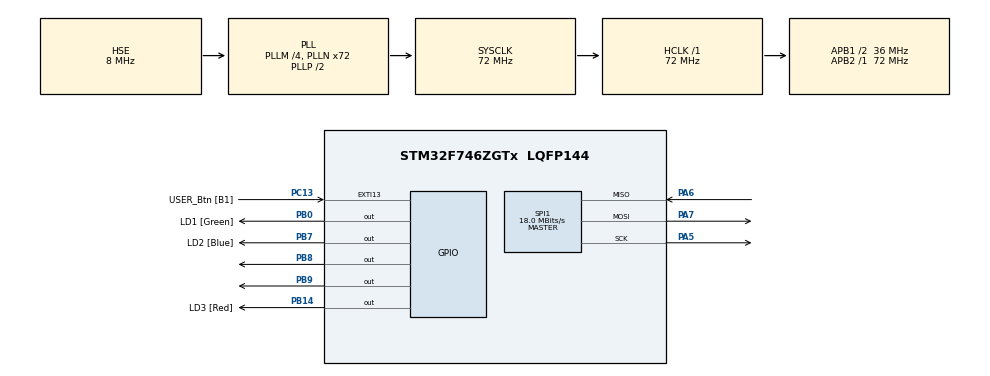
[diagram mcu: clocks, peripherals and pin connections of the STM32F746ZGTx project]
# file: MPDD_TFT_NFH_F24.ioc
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Dma.Request0=SPI1_TX
Dma.SPI1_TX.0.Direction=DMA_MEMORY_TO_PERIPH
Dma.SPI1_TX.0.FIFOMode=DMA_FIFOMODE_ENABLE
Dma.SPI1_TX.0.FIFOThreshold=DMA_FIFO_THRESHOLD_HALFFULL
Dma.SPI1_TX.0.Instance=DMA2_Stream3
Dma.SPI1_TX.0.MemBurst=DMA_MBURST_SINGLE
Dma.SPI1_TX.0.MemDataAlignment=DMA_MDATAALIGN_HALFWORD
Dma.SPI1_TX.0.MemInc=DMA_MINC_ENABLE
Dma.SPI1_TX.0.Mode=DMA_NORMAL
Dma.SPI1_TX.0.PeriphBurst=DMA_PBURST_SINGLE
Dma.SPI1_TX.0.PeriphDataAlignment=DMA_PDATAALIGN_HALFWORD
Dma.SPI1_TX.0.PeriphInc=DMA_PINC_DISABLE
Dma.SPI1_TX.0.Priority=DMA_PRIORITY_LOW
Mcu.Family=STM32F7
Mcu.Name=STM32F746ZGTx
Mcu.Package=LQFP144
NVIC.DMA2_Stream3_IRQn=true\:0\:0\:false\:false\:true\:false\:true\:true
NVIC.PriorityGroup=NVIC_PRIORITYGROUP_4
PA13.GPIO_Label=TMS
PA13.Mode=Serial_Wire
PA13.Signal=SYS_JTMS-SWDIO
PA14.GPIO_Label=TCK
PA14.Mode=Serial_Wire
PA14.Signal=SYS_JTCK-SWCLK
PA5.Mode=Full_Duplex_Master
PA5.Signal=SPI1_SCK
PA6.Mode=Full_Duplex_Master
PA6.Signal=SPI1_MISO
PA7.Mode=Full_Duplex_Master
PA7.Signal=SPI1_MOSI
PB0.GPIO_Label=LD1 [Green]
PB0.Signal=GPIO_Output
PB14.GPIO_Label=LD3 [Red]
PB14.Signal=GPIO_Output
PB3.Signal=SYS_JTDO-SWO
PB7.GPIO_Label=LD2 [Blue]
PB7.Signal=GPIO_Output
PB8.Signal=GPIO_Output
PB9.Signal=GPIO_Output
PC13.GPIO_Label=USER_Btn [B1]
PC13.Signal=GPXTI13
PC14/OSC32_IN.Mode=LSE-External-Oscillator
PC14/OSC32_IN.Signal=RCC_OSC32_IN
PC15/OSC32_OUT.Mode=LSE-External-Oscillator
PC15/OSC32_OUT.Signal=RCC_OSC32_OUT
PH0/OSC_IN.GPIO_Label=MCO [STM32F103CBT6_PA8]
PH0/OSC_IN.Mode=HSE-External-Clock-Source
PH0/OSC_IN.Signal=RCC_OSC_IN
PH1/OSC_OUT.Mode=HSE-External-Clock-Source
PH1/OSC_OUT.Signal=RCC_OSC_OUT
ProjectManager.HeapSize=0x200
ProjectManager.StackSize=0x400
ProjectManager.TargetToolchain=STM32CubeIDE
RCC.48MHZClocksFreq_Value=24000000
RCC.AHBFreq_Value=72000000
RCC.APB1CLKDivider=RCC_HCLK_DIV2
RCC.APB1Freq_Value=36000000
RCC.APB1TimFreq_Value=72000000
RCC.APB2Freq_Value=72000000
RCC.APB2TimFreq_Value=72000000
RCC.CortexFreq_Value=72000000
RCC.HCLKFreq_Value=72000000
RCC.HSE_VALUE=8000000
RCC.HSI_VALUE=16000000
RCC.PLLM=4
RCC.PLLMUL=RCC_PLL_MUL9
RCC.PLLN=72
RCC.PLLQ=3
RCC.PLLSourceVirtual=RCC_PLLSOURCE_HSE
RCC.PRESCALERUSB=RCC_USBCLKSOURCE_PLL_DIV1_5
RCC.SYSCLKFreq_VALUE=72000000
RCC.SYSCLKSource=RCC_SYSCLKSOURCE_PLLCLK
RCC.SYSCLKSourceVirtual=RCC_SYSCLKSOURCE_PLLCLK
RCC.USBFreq_Value=48000000
RCC.VCOOutputFreq_Value=144000000
SPI1.BaudRatePrescaler=SPI_BAUDRATEPRESCALER_4
SPI1.CalculateBaudRate=18.0 MBits/s
SPI1.DataSize=SPI_DATASIZE_8BIT
SPI1.Direction=SPI_DIRECTION_2LINES
SPI1.Mode=SPI_MODE_MASTER
SPI1.VirtualType=VM_MASTER
board=NUCLEO-F746ZG

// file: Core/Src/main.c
/* USER CODE BEGIN Header */
/**
  ******************************************************************************
  * @file           : main.c
  * @brief          : Main program body
  ******************************************************************************
  * @attention
  *
  * Copyright (c) 2024 STMicroelectronics.
  * All rights reserved.
  *
  * This software is licensed under terms that can be found in the LICENSE file
  * in the root directory of this software component.
  * If no LICENSE file comes with this software, it is provided AS-IS.
  *
  ******************************************************************************
  */
/* USER CODE END Header */
#include "main.h"

/* USER CODE BEGIN Includes */
#include "ili9163.h"
/* USER CODE END Includes */

SPI_HandleTypeDef hspi1;
DMA_HandleTypeDef hdma_spi1_tx;

/* USER CODE BEGIN PV */
volatile uint32_t MSec = 0;

uint8_t SPI_DMA_FL = 0;
uint32_t SPI_DMA_CNT=1;
/* USER CODE END PV */

void SystemClock_Config(void);
static void MX_GPIO_Init(void);
static void MX_DMA_Init(void);
static void MX_SPI1_Init(void);

int main(void)
{

  /* MCU Configuration--------------------------------------------------------*/

  /* Reset of all peripherals, Initializes the Flash interface and the Systick. */
  HAL_Init();

  /* Configure the system clock */
  SystemClock_Config();

  /* Initialize all configured peripherals */
  MX_GPIO_Init();
  MX_DMA_Init();
  MX_SPI1_Init();
  /* USER CODE BEGIN 2 */
  ILI9163_init(1);
  uint16_t test = 88;
  HAL_Delay(100);
  /* USER CODE END 2 */

  /* Infinite loop */
  /* USER CODE BEGIN WHILE */

  while (1)
  {
	  	HAL_GPIO_WritePin(GPIOB, LD1_Pin|LD3_Pin|LD2_Pin, GPIO_PIN_RESET);
	  	HAL_Delay(1000);

	  	ILI9163_newFrame();

	  	test++;

	  	ILI9163_drawStringF(5, 55, Font_7x10, BLACK, "%u", test); // The graphical functions don't cost a lot

	  	HAL_Delay(100);

	  	ILI9163_render();

	  	HAL_GPIO_WritePin(GPIOB, LD1_Pin|LD3_Pin|LD2_Pin, GPIO_PIN_SET);
	    HAL_Delay(1000);

    /* USER CODE END WHILE */

  }
}

void SystemClock_Config(void)
{
  RCC_OscInitTypeDef RCC_OscInitStruct = {0};
  RCC_ClkInitTypeDef RCC_ClkInitStruct = {0};

  /** Configure LSE Drive Capability
  */
  HAL_PWR_EnableBkUpAccess();

  /** Configure the main internal regulator output voltage
  */
  __HAL_RCC_PWR_CLK_ENABLE();
  __HAL_PWR_VOLTAGESCALING_CONFIG(PWR_REGULATOR_VOLTAGE_SCALE3);

  /** Initializes the RCC Oscillators according to the specified parameters
  * in the RCC_OscInitTypeDef structure.
  */
  RCC_OscInitStruct.OscillatorType = RCC_OSCILLATORTYPE_HSE;
  RCC_OscInitStruct.HSEState = RCC_HSE_BYPASS;
  RCC_OscInitStruct.PLL.PLLState = RCC_PLL_ON;
  RCC_OscInitStruct.PLL.PLLSource = RCC_PLLSOURCE_HSE;
  RCC_OscInitStruct.PLL.PLLM = 4;
  RCC_OscInitStruct.PLL.PLLN = 72;
  RCC_OscInitStruct.PLL.PLLP = RCC_PLLP_DIV2;
  RCC_OscInitStruct.PLL.PLLQ = 3;
  if (HAL_RCC_OscConfig(&RCC_OscInitStruct) != HAL_OK)
  {
    Error_Handler();
  }

  /** Initializes the CPU, AHB and APB buses clocks
  */
  RCC_ClkInitStruct.ClockType = RCC_CLOCKTYPE_HCLK|RCC_CLOCKTYPE_SYSCLK
                              |RCC_CLOCKTYPE_PCLK1|RCC_CLOCKTYPE_PCLK2;
  RCC_ClkInitStruct.SYSCLKSource = RCC_SYSCLKSOURCE_PLLCLK;
  RCC_ClkInitStruct.AHBCLKDivider = RCC_SYSCLK_DIV1;
  RCC_ClkInitStruct.APB1CLKDivider = RCC_HCLK_DIV2;
  RCC_ClkInitStruct.APB2CLKDivider = RCC_HCLK_DIV1;

  if (HAL_RCC_ClockConfig(&RCC_ClkInitStruct, FLASH_LATENCY_2) != HAL_OK)
  {
    Error_Handler();
  }
}

static void MX_SPI1_Init(void)
{

  /* SPI1 parameter configuration*/
  hspi1.Instance = SPI1;
  hspi1.Init.Mode = SPI_MODE_MASTER;
  hspi1.Init.Direction = SPI_DIRECTION_2LINES;
  hspi1.Init.DataSize = SPI_DATASIZE_8BIT;
  hspi1.Init.CLKPolarity = SPI_POLARITY_LOW;
  hspi1.Init.CLKPhase = SPI_PHASE_1EDGE;
  hspi1.Init.NSS = SPI_NSS_SOFT;
  hspi1.Init.BaudRatePrescaler = SPI_BAUDRATEPRESCALER_4;
  hspi1.Init.FirstBit = SPI_FIRSTBIT_MSB;
  hspi1.Init.TIMode = SPI_TIMODE_DISABLE;
  hspi1.Init.CRCCalculation = SPI_CRCCALCULATION_DISABLE;
  hspi1.Init.CRCPolynomial = 7;
  hspi1.Init.CRCLength = SPI_CRC_LENGTH_DATASIZE;
  hspi1.Init.NSSPMode = SPI_NSS_PULSE_ENABLE;
  if (HAL_SPI_Init(&hspi1) != HAL_OK)
  {
    Error_Handler();
  }

}

static void MX_DMA_Init(void)
{

  /* DMA controller clock enable */
  __HAL_RCC_DMA2_CLK_ENABLE();

  /* DMA interrupt init */
  /* DMA2_Stream3_IRQn interrupt configuration */
  HAL_NVIC_SetPriority(DMA2_Stream3_IRQn, 0, 0);
  HAL_NVIC_EnableIRQ(DMA2_Stream3_IRQn);

}

static void MX_GPIO_Init(void)
{
  GPIO_InitTypeDef GPIO_InitStruct = {0};

  /* GPIO Ports Clock Enable */
  __HAL_RCC_GPIOC_CLK_ENABLE();
  __HAL_RCC_GPIOH_CLK_ENABLE();
  __HAL_RCC_GPIOA_CLK_ENABLE();
  __HAL_RCC_GPIOB_CLK_ENABLE();

  /*Configure GPIO pin Output Level */
  HAL_GPIO_WritePin(GPIOB, LD1_Pin|LD3_Pin|LD2_Pin|GPIO_PIN_8
                          |GPIO_PIN_9, GPIO_PIN_RESET);

  /*Configure GPIO pin : USER_Btn_Pin */
  GPIO_InitStruct.Pin = USER_Btn_Pin;
  GPIO_InitStruct.Mode = GPIO_MODE_IT_RISING;
  GPIO_InitStruct.Pull = GPIO_NOPULL;
  HAL_GPIO_Init(USER_Btn_GPIO_Port, &GPIO_InitStruct);

  /*Configure GPIO pins : LD1_Pin LD3_Pin LD2_Pin PB8
                           PB9 */
  GPIO_InitStruct.Pin = LD1_Pin|LD3_Pin|LD2_Pin|GPIO_PIN_8
                          |GPIO_PIN_9;
  GPIO_InitStruct.Mode = GPIO_MODE_OUTPUT_PP;
  GPIO_InitStruct.Pull = GPIO_NOPULL;
  GPIO_InitStruct.Speed = GPIO_SPEED_FREQ_LOW;
  HAL_GPIO_Init(GPIOB, &GPIO_InitStruct);

}

/* USER CODE BEGIN 4 */
void HAL_SPI_TxCpltCallback(SPI_HandleTypeDef *hspi) // Your TxCpltCallback
{
	SPI_DMA_CNT--;
	if(SPI_DMA_CNT==0)
	{
		HAL_SPI_DMAStop(&hspi1);
		SPI_DMA_CNT=1;
		SPI_DMA_FL=1;
	}
}
/* USER CODE END 4 */

void Error_Handler(void)
{
  __disable_irq();
  while (1)
  {
  }
}
